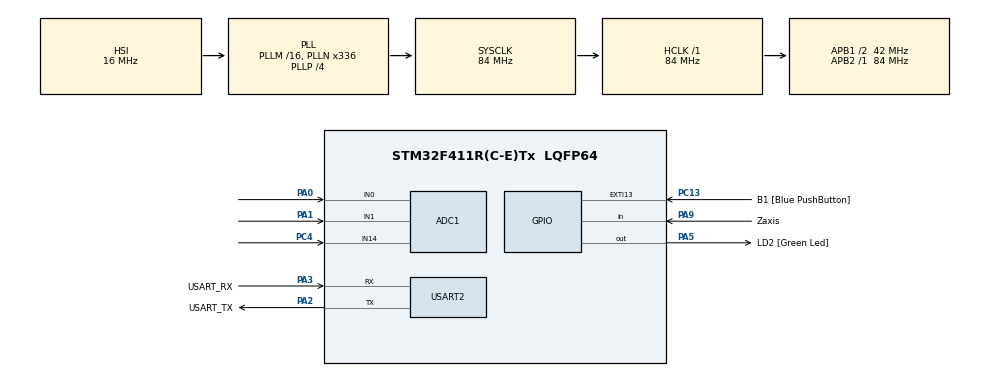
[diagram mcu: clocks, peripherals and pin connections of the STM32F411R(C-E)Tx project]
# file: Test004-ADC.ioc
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ADC1.Channel-2\#ChannelRegularConversion=ADC_CHANNEL_0
ADC1.Channel-3\#ChannelRegularConversion=ADC_CHANNEL_1
ADC1.ContinuousConvMode=DISABLE
ADC1.DiscontinuousConvMode=ENABLE
ADC1.NbrOfConversion=2
ADC1.NbrOfConversionFlag=1
ADC1.Rank-2\#ChannelRegularConversion=1
ADC1.Rank-3\#ChannelRegularConversion=2
ADC1.SamplingTime-2\#ChannelRegularConversion=ADC_SAMPLETIME_3CYCLES
ADC1.SamplingTime-3\#ChannelRegularConversion=ADC_SAMPLETIME_3CYCLES
ADC1.master=1
Mcu.Family=STM32F4
Mcu.Name=STM32F411R(C-E)Tx
Mcu.Package=LQFP64
NVIC.ADC_IRQn=true\:0\:0\:false\:false\:true\:true\:true\:true
NVIC.PriorityGroup=NVIC_PRIORITYGROUP_0
PA0-WKUP.Signal=ADCx_IN0
PA1.Signal=ADCx_IN1
PA13.GPIO_Label=TMS
PA13.Mode=Serial_Wire
PA13.Signal=SYS_JTMS-SWDIO
PA14.GPIO_Label=TCK
PA14.Mode=Serial_Wire
PA14.Signal=SYS_JTCK-SWCLK
PA2.GPIO_Label=USART_TX
PA2.Mode=Asynchronous
PA2.Signal=USART2_TX
PA3.GPIO_Label=USART_RX
PA3.Mode=Asynchronous
PA3.Signal=USART2_RX
PA5.GPIO_Label=LD2 [Green Led]
PA5.Signal=GPIO_Output
PA9.GPIO_Label=Zaxis
PA9.GPIO_PuPd=GPIO_PULLUP
PA9.Signal=GPIO_Input
PB3.GPIO_Label=SWO
PB3.Signal=SYS_JTDO-SWO
PC13-ANTI_TAMP.GPIO_Label=B1 [Blue PushButton]
PC13-ANTI_TAMP.GPIO_ModeDefaultEXTI=GPIO_MODE_IT_FALLING
PC13-ANTI_TAMP.Signal=GPXTI13
PC14-OSC32_IN.Mode=LSE-External-Oscillator
PC14-OSC32_IN.Signal=RCC_OSC32_IN
PC15-OSC32_OUT.Mode=LSE-External-Oscillator
PC15-OSC32_OUT.Signal=RCC_OSC32_OUT
PC4.Signal=ADCx_IN14
PH0\ -\ OSC_IN.Mode=HSE-External-Clock-Source
PH0\ -\ OSC_IN.Signal=RCC_OSC_IN
PH1\ -\ OSC_OUT.Mode=HSE-External-Clock-Source
PH1\ -\ OSC_OUT.Signal=RCC_OSC_OUT
ProjectManager.HeapSize=0x200
ProjectManager.StackSize=0x400
ProjectManager.TargetToolchain=STM32CubeIDE
RCC.48MHZClocksFreq_Value=84000000
RCC.AHBFreq_Value=84000000
RCC.APB1CLKDivider=RCC_HCLK_DIV2
RCC.APB1Freq_Value=42000000
RCC.APB1TimFreq_Value=84000000
RCC.APB2Freq_Value=84000000
RCC.APB2TimFreq_Value=84000000
RCC.CortexFreq_Value=84000000
RCC.FLatency-AdvancedSettings=FLASH_LATENCY_2
RCC.HCLKFreq_Value=84000000
RCC.HSE_VALUE=8000000
RCC.HSI_VALUE=16000000
RCC.PLLN=336
RCC.PLLP=RCC_PLLP_DIV4
RCC.SYSCLKFreq_VALUE=84000000
RCC.SYSCLKSource=RCC_SYSCLKSOURCE_PLLCLK
RCC.VCOOutputFreq_Value=336000000
SH.ADCx_IN0.0=ADC1_IN0,IN0
SH.ADCx_IN1.0=ADC1_IN1,IN1
SH.ADCx_IN14.0=ADC1_IN14,IN14
USART2.VirtualMode=VM_ASYNC
board=NUCLEO-F411RE

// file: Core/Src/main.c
/* USER CODE BEGIN Header */
/**
  ******************************************************************************
  * @file           : main.c
  * @brief          : Main program body
  ******************************************************************************
  * @attention
  *
  * Copyright (c) 2024 STMicroelectronics.
  * All rights reserved.
  *
  * This software is licensed under terms that can be found in the LICENSE file
  * in the root directory of this software component.
  * If no LICENSE file comes with this software, it is provided AS-IS.
  *
  ******************************************************************************
  */
/* USER CODE END Header */
#include "main.h"

ADC_HandleTypeDef hadc1;

UART_HandleTypeDef huart2;

void SystemClock_Config(void);
static void MX_GPIO_Init(void);
static void MX_USART2_UART_Init(void);
static void MX_ADC1_Init(void);

int main(void)
{

  /* MCU Configuration--------------------------------------------------------*/

  /* Reset of all peripherals, Initializes the Flash interface and the Systick. */
  HAL_Init();

  /* Configure the system clock */
  SystemClock_Config();

  /* Initialize all configured peripherals */
  MX_GPIO_Init();
  MX_USART2_UART_Init();
  MX_ADC1_Init();
  /* USER CODE BEGIN 2 */
  ProgramStart("ADC - Polling");
  /* USER CODE END 2 */

  /* Infinite loop */
  while (1)
  {

    /* USER CODE BEGIN 3 */
	  HAL_ADC_Start(&hadc1);
	  HAL_ADC_PollForConversion(&hadc1,10);//1 time sampling
	  int val1 = HAL_ADC_GetValue(&hadc1)/51;

	  HAL_ADC_Start(&hadc1);
	  HAL_ADC_PollForConversion(&hadc1,10);//1 time sampling
	  int val2 = HAL_ADC_GetValue(&hadc1)/170;

	  if(HAL_GPIO_ReadPin(B1_GPIO_Port, B1_Pin) == 0)
	  {
	  	  printf("\033[2J");//?���? clear
	  }
	  if(HAL_GPIO_ReadPin(Zaxis_GPIO_Port, Zaxis_Pin) == 0)
	  {
		  printf("\033[%d;%dH",40,12);
		  Cursor(val1,val2);
		  printf("*");
	  }

	  //printf("Joystick value - : (%d,%d)\r\n",val1,val2);
	  printf("\033[0;0H"); //cursor?��?�� ?��?��

	  HAL_Delay(100);
  }
  /* USER CODE END 3 */
}

void SystemClock_Config(void)
{
  RCC_OscInitTypeDef RCC_OscInitStruct = {0};
  RCC_ClkInitTypeDef RCC_ClkInitStruct = {0};

  /** Configure the main internal regulator output voltage
  */
  __HAL_RCC_PWR_CLK_ENABLE();
  __HAL_PWR_VOLTAGESCALING_CONFIG(PWR_REGULATOR_VOLTAGE_SCALE1);

  /** Initializes the RCC Oscillators according to the specified parameters
  * in the RCC_OscInitTypeDef structure.
  */
  RCC_OscInitStruct.OscillatorType = RCC_OSCILLATORTYPE_HSI;
  RCC_OscInitStruct.HSIState = RCC_HSI_ON;
  RCC_OscInitStruct.HSICalibrationValue = RCC_HSICALIBRATION_DEFAULT;
  RCC_OscInitStruct.PLL.PLLState = RCC_PLL_ON;
  RCC_OscInitStruct.PLL.PLLSource = RCC_PLLSOURCE_HSI;
  RCC_OscInitStruct.PLL.PLLM = 16;
  RCC_OscInitStruct.PLL.PLLN = 336;
  RCC_OscInitStruct.PLL.PLLP = RCC_PLLP_DIV4;
  RCC_OscInitStruct.PLL.PLLQ = 4;
  if (HAL_RCC_OscConfig(&RCC_OscInitStruct) != HAL_OK)
  {
    Error_Handler();
  }

  /** Initializes the CPU, AHB and APB buses clocks
  */
  RCC_ClkInitStruct.ClockType = RCC_CLOCKTYPE_HCLK|RCC_CLOCKTYPE_SYSCLK
                              |RCC_CLOCKTYPE_PCLK1|RCC_CLOCKTYPE_PCLK2;
  RCC_ClkInitStruct.SYSCLKSource = RCC_SYSCLKSOURCE_PLLCLK;
  RCC_ClkInitStruct.AHBCLKDivider = RCC_SYSCLK_DIV1;
  RCC_ClkInitStruct.APB1CLKDivider = RCC_HCLK_DIV2;
  RCC_ClkInitStruct.APB2CLKDivider = RCC_HCLK_DIV1;

  if (HAL_RCC_ClockConfig(&RCC_ClkInitStruct, FLASH_LATENCY_2) != HAL_OK)
  {
    Error_Handler();
  }
}

static void MX_ADC1_Init(void)
{

  ADC_ChannelConfTypeDef sConfig = {0};

  /** Configure the global features of the ADC (Clock, Resolution, Data Alignment and number of conversion)
  */
  hadc1.Instance = ADC1;
  hadc1.Init.ClockPrescaler = ADC_CLOCK_SYNC_PCLK_DIV4;
  hadc1.Init.Resolution = ADC_RESOLUTION_12B;
  hadc1.Init.ScanConvMode = ENABLE;
  hadc1.Init.ContinuousConvMode = DISABLE;
  hadc1.Init.DiscontinuousConvMode = ENABLE;
  hadc1.Init.NbrOfDiscConversion = 1;
  hadc1.Init.ExternalTrigConvEdge = ADC_EXTERNALTRIGCONVEDGE_NONE;
  hadc1.Init.ExternalTrigConv = ADC_SOFTWARE_START;
  hadc1.Init.DataAlign = ADC_DATAALIGN_RIGHT;
  hadc1.Init.NbrOfConversion = 2;
  hadc1.Init.DMAContinuousRequests = DISABLE;
  hadc1.Init.EOCSelection = ADC_EOC_SINGLE_CONV;
  if (HAL_ADC_Init(&hadc1) != HAL_OK)
  {
    Error_Handler();
  }

  /** Configure for the selected ADC regular channel its corresponding rank in the sequencer and its sample time.
  */
  sConfig.Channel = ADC_CHANNEL_0;
  sConfig.Rank = 1;
  sConfig.SamplingTime = ADC_SAMPLETIME_3CYCLES;
  if (HAL_ADC_ConfigChannel(&hadc1, &sConfig) != HAL_OK)
  {
    Error_Handler();
  }

  /** Configure for the selected ADC regular channel its corresponding rank in the sequencer and its sample time.
  */
  sConfig.Channel = ADC_CHANNEL_1;
  sConfig.Rank = 2;
  if (HAL_ADC_ConfigChannel(&hadc1, &sConfig) != HAL_OK)
  {
    Error_Handler();
  }

}

static void MX_USART2_UART_Init(void)
{

  huart2.Instance = USART2;
  huart2.Init.BaudRate = 115200;
  huart2.Init.WordLength = UART_WORDLENGTH_8B;
  huart2.Init.StopBits = UART_STOPBITS_1;
  huart2.Init.Parity = UART_PARITY_NONE;
  huart2.Init.Mode = UART_MODE_TX_RX;
  huart2.Init.HwFlowCtl = UART_HWCONTROL_NONE;
  huart2.Init.OverSampling = UART_OVERSAMPLING_16;
  if (HAL_UART_Init(&huart2) != HAL_OK)
  {
    Error_Handler();
  }

}

static void MX_GPIO_Init(void)
{
  GPIO_InitTypeDef GPIO_InitStruct = {0};

  /* GPIO Ports Clock Enable */
  __HAL_RCC_GPIOC_CLK_ENABLE();
  __HAL_RCC_GPIOH_CLK_ENABLE();
  __HAL_RCC_GPIOA_CLK_ENABLE();
  __HAL_RCC_GPIOB_CLK_ENABLE();

  /*Configure GPIO pin Output Level */
  HAL_GPIO_WritePin(LD2_GPIO_Port, LD2_Pin, GPIO_PIN_RESET);

  /*Configure GPIO pin : B1_Pin */
  GPIO_InitStruct.Pin = B1_Pin;
  GPIO_InitStruct.Mode = GPIO_MODE_IT_FALLING;
  GPIO_InitStruct.Pull = GPIO_NOPULL;
  HAL_GPIO_Init(B1_GPIO_Port, &GPIO_InitStruct);

  /*Configure GPIO pin : LD2_Pin */
  GPIO_InitStruct.Pin = LD2_Pin;
  GPIO_InitStruct.Mode = GPIO_MODE_OUTPUT_PP;
  GPIO_InitStruct.Pull = GPIO_NOPULL;
  GPIO_InitStruct.Speed = GPIO_SPEED_FREQ_LOW;
  HAL_GPIO_Init(LD2_GPIO_Port, &GPIO_InitStruct);

  /*Configure GPIO pin : Zaxis_Pin */
  GPIO_InitStruct.Pin = Zaxis_Pin;
  GPIO_InitStruct.Mode = GPIO_MODE_INPUT;
  GPIO_InitStruct.Pull = GPIO_PULLUP;
  HAL_GPIO_Init(Zaxis_GPIO_Port, &GPIO_InitStruct);

}

void Error_Handler(void)
{
  __disable_irq();
  while (1)
  {
  }
}
